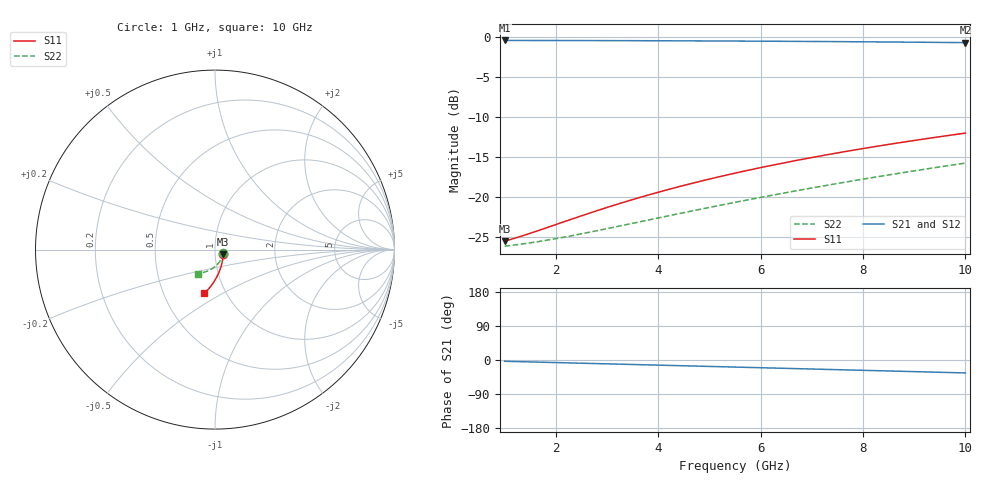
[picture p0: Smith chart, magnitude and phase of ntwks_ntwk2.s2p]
! Source: https://github.com/scikit-rf/scikit-rf/blob/950534a5928d5c99e3fea2beaec7d82519800b0c/skrf/tests/ntwks/ntwk2.s2p
! License: BSD-3-Clause
! Created Thu Nov 11 11:10:01 2010
# ghz S ri R 50
! 2 Port Network Data from SP1.SP block
! freq  reS11  imS11  reS21  imS21  reS12  imS12  reS22  imS22
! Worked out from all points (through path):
!   91 points, 1 GHz to 10 GHz, reference 50 ohm
!   highest |S21| = -0.43 dB at 1 GHz (marker M1); lowest = -0.7 dB at 10 GHz (marker M2)
!   group delay of S21, straight-line fit = 9.49 ps
!   lowest |S11| = -25.5 dB at 1 GHz (marker M3), VSWR 1.11, Z = 54.8 - j2.86 ohm
!   |S11| at or under -10 dB: start of sweep to end of sweep
!   |S22| runs from -26.1 to -15.7 dB; largest |S21 - S12| = 0
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1  0.0466 -0.026  0.9504 -0.0562  0.9504 -0.0562  0.0461 -0.0185
1.3  0.0459 -0.0338  0.9491 -0.0731  0.9491 -0.0731  0.045 -0.024
1.5  0.0453 -0.039  0.948 -0.0843  0.948 -0.0843  0.0442 -0.0276
1.7  0.0446 -0.0441  0.9468 -0.0955  0.9468 -0.0955  0.0432 -0.0312
2.1  0.043 -0.0545  0.9438 -0.1178  0.9438 -0.1178  0.0408 -0.0384
2.5  0.0411 -0.0648  0.9403 -0.14  0.9403 -0.14  0.038 -0.0455
2.9  0.0388 -0.0751  0.9361 -0.1621  0.9361 -0.1621  0.0347 -0.0524
3.3  0.0362 -0.0853  0.9313 -0.1841  0.9313 -0.1841  0.031 -0.0592
3.6  0.034 -0.093  0.9273 -0.2005  0.9273 -0.2005  0.0278 -0.0642
4  0.0308 -0.1032  0.9215 -0.2223  0.9215 -0.2223  0.0232 -0.0707
4.3  0.0282 -0.1108  0.9167 -0.2385  0.9167 -0.2385  0.0195 -0.0754
4.7  0.0243 -0.1208  0.9098 -0.2599  0.9098 -0.2599  0.0141 -0.0816
5.1  0.0202 -0.1308  0.9023 -0.2812  0.9023 -0.2812  0.00826 -0.0875
5.5  0.0156 -0.1408  0.8942 -0.3022  0.8942 -0.3022  0.00199 -0.0931
5.8  0.012 -0.1481  0.8877 -0.3178  0.8877 -0.3178  -0.00299 -0.0972
6.2  0.00685 -0.1579  0.8786 -0.3384  0.8786 -0.3384  -0.01 -0.1023
6.6  0.00134 -0.1676  0.8689 -0.3587  0.8689 -0.3587  -0.0174 -0.1071
7  -0.00454 -0.1772  0.8586 -0.3787  0.8586 -0.3787  -0.0252 -0.1116
7.7  -0.0157 -0.1936  0.8392 -0.413  0.8392 -0.413  -0.0398 -0.1187
8.5  -0.0298 -0.2119  0.815 -0.4509  0.815 -0.4509  -0.0579 -0.1253
9.2  -0.0434 -0.2273  0.792 -0.4828  0.792 -0.4828  -0.0747 -0.1298
10  -0.0604 -0.2443  0.7638 -0.5178  0.7638 -0.5178  -0.0951 -0.1332
